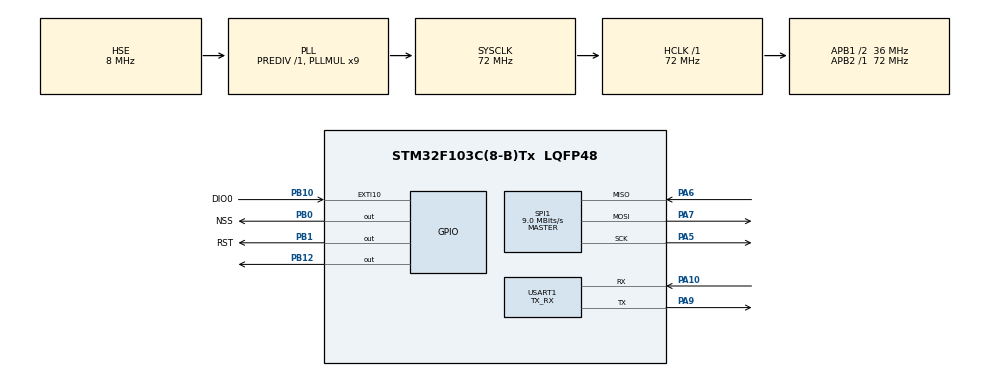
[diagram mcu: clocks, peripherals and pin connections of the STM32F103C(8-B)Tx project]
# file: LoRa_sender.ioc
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Mcu.Family=STM32F1
Mcu.Name=STM32F103C(8-B)Tx
Mcu.Package=LQFP48
NVIC.EXTI15_10_IRQn=true\:0\:0\:false\:false\:true\:true\:true\:true
NVIC.PriorityGroup=NVIC_PRIORITYGROUP_4
NVIC.USART1_IRQn=true\:0\:0\:false\:false\:true\:true\:true\:true
PA10.Mode=Asynchronous
PA10.Signal=USART1_RX
PA13.Mode=Serial_Wire
PA13.Signal=SYS_JTMS-SWDIO
PA14.Mode=Serial_Wire
PA14.Signal=SYS_JTCK-SWCLK
PA5.Mode=Full_Duplex_Master
PA5.Signal=SPI1_SCK
PA6.Mode=Full_Duplex_Master
PA6.Signal=SPI1_MISO
PA7.Mode=Full_Duplex_Master
PA7.Signal=SPI1_MOSI
PA9.Mode=Asynchronous
PA9.Signal=USART1_TX
PB0.GPIO_Label=NSS
PB0.PinState=GPIO_PIN_SET
PB0.Signal=GPIO_Output
PB1.GPIO_Label=RST
PB1.PinState=GPIO_PIN_SET
PB1.Signal=GPIO_Output
PB10.GPIO_Label=DIO0
PB10.Signal=GPXTI10
PB12.Signal=GPIO_Output
PD0-OSC_IN.Mode=HSE-External-Oscillator
PD0-OSC_IN.Signal=RCC_OSC_IN
PD1-OSC_OUT.Mode=HSE-External-Oscillator
PD1-OSC_OUT.Signal=RCC_OSC_OUT
ProjectManager.HeapSize=0x200
ProjectManager.StackSize=0x400
ProjectManager.TargetToolchain=MDK-ARM V5.32
RCC.AHBFreq_Value=72000000
RCC.APB1CLKDivider=RCC_HCLK_DIV2
RCC.APB1Freq_Value=36000000
RCC.APB1TimFreq_Value=72000000
RCC.APB2Freq_Value=72000000
RCC.APB2TimFreq_Value=72000000
RCC.HCLKFreq_Value=72000000
RCC.PLLMUL=RCC_PLL_MUL9
RCC.PLLSourceVirtual=RCC_PLLSOURCE_HSE
RCC.SYSCLKFreq_VALUE=72000000
RCC.SYSCLKSource=RCC_SYSCLKSOURCE_PLLCLK
RCC.USBFreq_Value=72000000
SPI1.BaudRatePrescaler=SPI_BAUDRATEPRESCALER_8
SPI1.CalculateBaudRate=9.0 MBits/s
SPI1.Direction=SPI_DIRECTION_2LINES
SPI1.Mode=SPI_MODE_MASTER
SPI1.VirtualType=VM_MASTER
USART1.Mode=MODE_TX_RX
USART1.VirtualMode=VM_ASYNC
board=custom

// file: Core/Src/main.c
/* USER CODE BEGIN Header */
/**
  ******************************************************************************
  * @file           : main.c
  * @brief          : Main program body
  ******************************************************************************
  * @attention
  *
  * Copyright (c) 2023 STMicroelectronics.
  * All rights reserved.
  *
  * This software is licensed under terms that can be found in the LICENSE file
  * in the root directory of this software component.
  * If no LICENSE file comes with this software, it is provided AS-IS.
  *
  ******************************************************************************
  */
/* USER CODE END Header */
#include "main.h"

/* USER CODE BEGIN Includes */
#include "LoRa.h"
#include "DHT.h"
/* USER CODE END Includes */

/* USER CODE BEGIN PTD */
#define buf_size 10
#define DHT11_GPIO_PORT GPIOB
#define DHT11_GPIO_PIN GPIO_PIN_12
#define TIME_PERIOD 5000
/* USER CODE END PTD */

SPI_HandleTypeDef hspi1;

UART_HandleTypeDef huart1;

/* USER CODE BEGIN PV */
LoRa myLoRa;
uint8_t LoRa_stat = 0;
uint8_t RxBuff[buf_size];
uint8_t TxBuff[buf_size];
DHT_data d;
DHT_sensor dht;
/* USER CODE END PV */

void SystemClock_Config(void);
static void MX_GPIO_Init(void);
static void MX_SPI1_Init(void);
static void MX_USART1_UART_Init(void);

int main(void)
{

  /* MCU Configuration--------------------------------------------------------*/

  /* Reset of all peripherals, Initializes the Flash interface and the Systick. */
  HAL_Init();

  /* Configure the system clock */
  SystemClock_Config();

  /* Initialize all configured peripherals */
  MX_GPIO_Init();
  MX_SPI1_Init();
  MX_USART1_UART_Init();
  /* USER CODE BEGIN 2 */
	myLoRa = newLoRa();

	myLoRa.CS_port         = NSS_GPIO_Port;
	myLoRa.CS_pin          = NSS_Pin;
	myLoRa.reset_port      = RST_GPIO_Port;
	myLoRa.reset_pin       = RST_Pin;
	myLoRa.DIO0_port       = DIO0_GPIO_Port;
	myLoRa.DIO0_pin        = DIO0_Pin;
	myLoRa.hSPIx           = &hspi1;

	/*
	myLoRa.frequency             = 434;             // default = 433 MHz
	myLoRa.spredingFactor        = SF_9;            // default = SF_7
	myLoRa.bandWidth             = BW_250KHz;       // default = BW_125KHz
	myLoRa.crcRate               = CR_4_8;          // default = CR_4_5
	myLoRa.power                 = POWER_17db;      // default = 20db
	myLoRa.overCurrentProtection = 130;             // default = 100 mA
	myLoRa.preamble              = 10;              // default = 8;
	*/

	LoRa_stat = LoRa_init(&myLoRa);
	HAL_UART_Transmit(&huart1, &LoRa_stat, 1, 0xFFFF);

	dht.DHT_Pin 					= DHT11_GPIO_PIN;
	dht.DHT_Port 					= DHT11_GPIO_PORT;
	dht.type 							= DHT11;
	dht.pullUp 						= GPIO_NOPULL;

  /* USER CODE END 2 */

  /* Infinite loop */
  while (1)
  {

    /* USER CODE BEGIN 3 */
		d = DHT_getData(&dht);
		TxBuff[0] = (uint8_t) d.temp;
		TxBuff[1] = (uint8_t) d.hum;

		HAL_UART_Transmit(&huart1, TxBuff, 2, 0xFFFF);
		LoRa_transmit(&myLoRa, TxBuff, buf_size, 500);
		HAL_Delay(5000);

  }
  /* USER CODE END 3 */
}

void SystemClock_Config(void)
{
  RCC_OscInitTypeDef RCC_OscInitStruct = {0};
  RCC_ClkInitTypeDef RCC_ClkInitStruct = {0};

  /** Initializes the RCC Oscillators according to the specified parameters
  * in the RCC_OscInitTypeDef structure.
  */
  RCC_OscInitStruct.OscillatorType = RCC_OSCILLATORTYPE_HSE;
  RCC_OscInitStruct.HSEState = RCC_HSE_ON;
  RCC_OscInitStruct.HSEPredivValue = RCC_HSE_PREDIV_DIV1;
  RCC_OscInitStruct.HSIState = RCC_HSI_ON;
  RCC_OscInitStruct.PLL.PLLState = RCC_PLL_ON;
  RCC_OscInitStruct.PLL.PLLSource = RCC_PLLSOURCE_HSE;
  RCC_OscInitStruct.PLL.PLLMUL = RCC_PLL_MUL9;
  if (HAL_RCC_OscConfig(&RCC_OscInitStruct) != HAL_OK)
  {
    Error_Handler();
  }

  /** Initializes the CPU, AHB and APB buses clocks
  */
  RCC_ClkInitStruct.ClockType = RCC_CLOCKTYPE_HCLK|RCC_CLOCKTYPE_SYSCLK
                              |RCC_CLOCKTYPE_PCLK1|RCC_CLOCKTYPE_PCLK2;
  RCC_ClkInitStruct.SYSCLKSource = RCC_SYSCLKSOURCE_PLLCLK;
  RCC_ClkInitStruct.AHBCLKDivider = RCC_SYSCLK_DIV1;
  RCC_ClkInitStruct.APB1CLKDivider = RCC_HCLK_DIV2;
  RCC_ClkInitStruct.APB2CLKDivider = RCC_HCLK_DIV1;

  if (HAL_RCC_ClockConfig(&RCC_ClkInitStruct, FLASH_LATENCY_2) != HAL_OK)
  {
    Error_Handler();
  }
}

static void MX_SPI1_Init(void)
{

  /* SPI1 parameter configuration*/
  hspi1.Instance = SPI1;
  hspi1.Init.Mode = SPI_MODE_MASTER;
  hspi1.Init.Direction = SPI_DIRECTION_2LINES;
  hspi1.Init.DataSize = SPI_DATASIZE_8BIT;
  hspi1.Init.CLKPolarity = SPI_POLARITY_LOW;
  hspi1.Init.CLKPhase = SPI_PHASE_1EDGE;
  hspi1.Init.NSS = SPI_NSS_SOFT;
  hspi1.Init.BaudRatePrescaler = SPI_BAUDRATEPRESCALER_8;
  hspi1.Init.FirstBit = SPI_FIRSTBIT_MSB;
  hspi1.Init.TIMode = SPI_TIMODE_DISABLE;
  hspi1.Init.CRCCalculation = SPI_CRCCALCULATION_DISABLE;
  hspi1.Init.CRCPolynomial = 10;
  if (HAL_SPI_Init(&hspi1) != HAL_OK)
  {
    Error_Handler();
  }

}

static void MX_USART1_UART_Init(void)
{

  huart1.Instance = USART1;
  huart1.Init.BaudRate = 115200;
  huart1.Init.WordLength = UART_WORDLENGTH_8B;
  huart1.Init.StopBits = UART_STOPBITS_1;
  huart1.Init.Parity = UART_PARITY_NONE;
  huart1.Init.Mode = UART_MODE_TX_RX;
  huart1.Init.HwFlowCtl = UART_HWCONTROL_NONE;
  huart1.Init.OverSampling = UART_OVERSAMPLING_16;
  if (HAL_UART_Init(&huart1) != HAL_OK)
  {
    Error_Handler();
  }

}

static void MX_GPIO_Init(void)
{
  GPIO_InitTypeDef GPIO_InitStruct = {0};

  /* GPIO Ports Clock Enable */
  __HAL_RCC_GPIOD_CLK_ENABLE();
  __HAL_RCC_GPIOA_CLK_ENABLE();
  __HAL_RCC_GPIOB_CLK_ENABLE();

  /*Configure GPIO pin Output Level */
  HAL_GPIO_WritePin(GPIOB, NSS_Pin|RST_Pin, GPIO_PIN_SET);

  /*Configure GPIO pin Output Level */
  HAL_GPIO_WritePin(GPIOB, GPIO_PIN_12, GPIO_PIN_RESET);

  /*Configure GPIO pins : NSS_Pin RST_Pin PB12 */
  GPIO_InitStruct.Pin = NSS_Pin|RST_Pin|GPIO_PIN_12;
  GPIO_InitStruct.Mode = GPIO_MODE_OUTPUT_PP;
  GPIO_InitStruct.Pull = GPIO_NOPULL;
  GPIO_InitStruct.Speed = GPIO_SPEED_FREQ_LOW;
  HAL_GPIO_Init(GPIOB, &GPIO_InitStruct);

  /*Configure GPIO pin : DIO0_Pin */
  GPIO_InitStruct.Pin = DIO0_Pin;
  GPIO_InitStruct.Mode = GPIO_MODE_IT_RISING;
  GPIO_InitStruct.Pull = GPIO_NOPULL;
  HAL_GPIO_Init(DIO0_GPIO_Port, &GPIO_InitStruct);

  /* EXTI interrupt init*/
  HAL_NVIC_SetPriority(EXTI15_10_IRQn, 0, 0);
  HAL_NVIC_EnableIRQ(EXTI15_10_IRQn);

}

void Error_Handler(void)
{
  __disable_irq();
  while (1)
  {
  }
}
